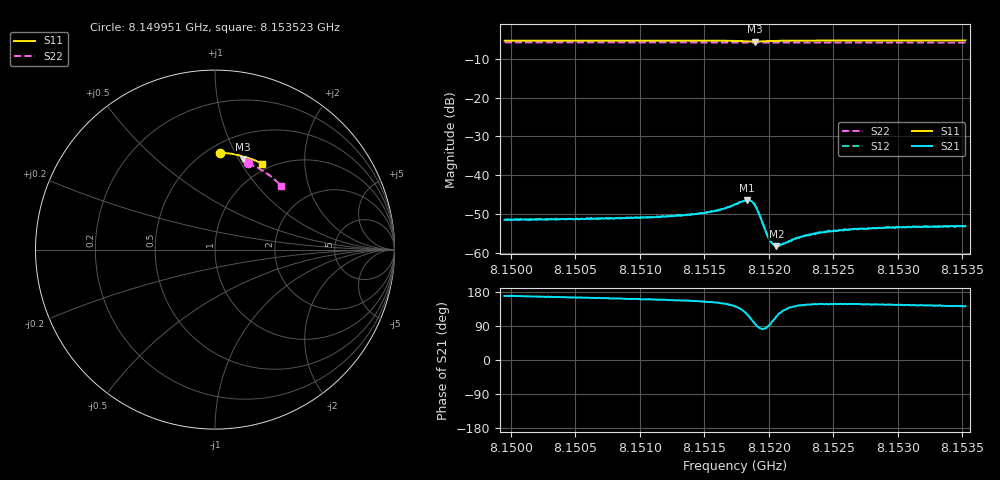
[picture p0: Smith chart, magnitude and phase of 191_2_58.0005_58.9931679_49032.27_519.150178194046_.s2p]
#  HZ  S  RI  R  50.00
! Rohde & Schwarz Vector Network Analyzer
! Rohde-Schwarz,ZNB20-2Port,1311601062101988,3.16
! Created: UTC 3/21/2024, 12:58:50 AM
! freq[Hz]  re:S11  im:S11  re:S21  im:S21  re:S12  im:S12  re:S22  im:S22
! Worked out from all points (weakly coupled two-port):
!   401 points, 8.149951 GHz to 8.153523 GHz, reference 50 ohm
!   highest |S21| = -46.45 dB at 8.151826 GHz (marker M1); lowest = -58.4 dB at 8.152058 GHz (marker M2)
!   lowest |S11| = -5.6 dB at 8.151889 GHz (marker M3), VSWR 3.22, Z = 37.3 + j51.9 ohm
!   |S11| at or under -10 dB: nowhere
!   |S22| runs from -5.8 to -5.7 dB; largest |S21 - S12| = 0.00011
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8.1499511e9  0.0275 0.5396  -0.00259 0.000506  -0.00263 0.000549  0.1833 0.4821
8.1505493e9  0.0694 0.5367  -0.00262 0.000721  -0.00264 0.000783  0.2188 0.4663
8.1511475e9  0.1114 0.5304  -0.00268 0.00102  -0.00273 0.00106  0.2525 0.4482
8.1514957e9  0.1366 0.5246  -0.0029 0.00142  -0.00293 0.00147  0.2717 0.4362
8.1516118e9  0.1456 0.5214  -0.00307 0.00172  -0.0031 0.0018  0.278 0.4321
8.1517368e9  0.1556 0.5157  -0.00329 0.00259  -0.00323 0.00267  0.2847 0.4273
8.1518261e9  0.1598 0.5068  -0.00253 0.00403  -0.00252 0.00408  0.2891 0.4237
8.1518618e9  0.1572 0.5034  -0.00144 0.00439  -0.00139 0.00444  0.2908 0.4226
8.1518886e9  0.1542 0.5031  -0.000483 0.00412  -0.000426 0.00416  0.2919 0.4215
8.1519243e9  0.152 0.5067  0.000274 0.00309  0.000318 0.00314  0.2939 0.4204
8.151969e9  0.1542 0.5112  0.000231 0.00197  0.00024 0.00197  0.296 0.419
8.1519958e9  0.1566 0.513  -4.39e-07 0.00155  5.51e-06 0.00158  0.2975 0.4179
8.1520225e9  0.1592 0.5139  -0.000252 0.00131  -0.00023 0.00131  0.2989 0.4169
8.1520583e9  0.1628 0.5144  -0.000518 0.00109  -0.000472 0.00111  0.3009 0.4157
8.152094e9  0.1662 0.5145  -0.000741 0.00103  -0.000747 0.00103  0.3028 0.4143
8.1522458e9  0.1788 0.5125  -0.00129 0.000939  -0.0013 0.000923  0.3104 0.4083
8.152335e9  0.1854 0.5106  -0.00146 0.000933  -0.00146 0.00098  0.315 0.4048
8.1523976e9  0.1897 0.5091  -0.00156 0.000968  -0.0015 0.000969  0.3181 0.4022
8.1524868e9  0.1961 0.5071  -0.00158 0.00102  -0.00163 0.00104  0.3224 0.3986
8.1526654e9  0.2083 0.5027  -0.00172 0.00107  -0.00168 0.0011  0.3311 0.391
8.1529333e9  0.2258 0.4956  -0.00176 0.00119  -0.00173 0.00119  0.3439 0.3795
8.1535226e9  0.2631 0.478  -0.00173 0.00135  -0.00173 0.00139  0.37 0.3528
